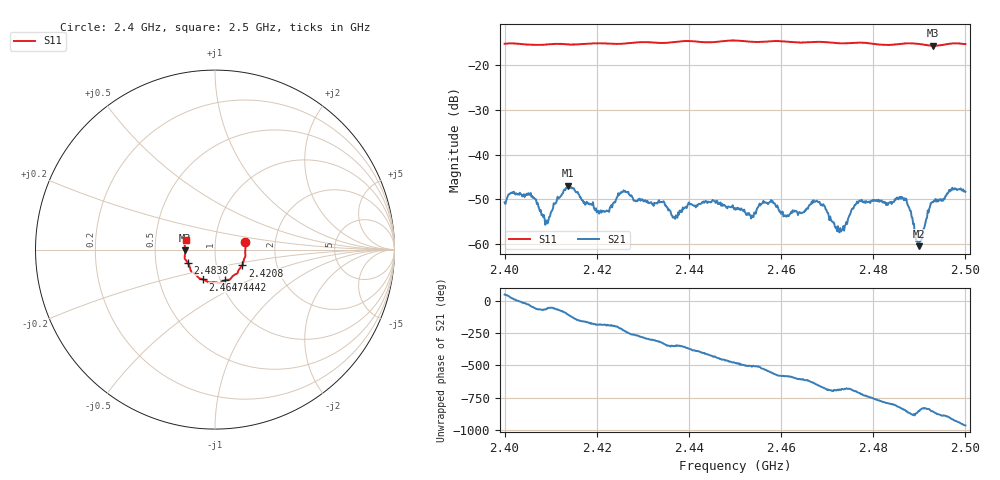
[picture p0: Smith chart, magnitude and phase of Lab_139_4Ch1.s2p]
# Hz S RI R 50
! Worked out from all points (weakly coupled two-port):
!   601 points, 2.4 GHz to 2.5 GHz, reference 50 ohm
!   highest |S21| = -46.94 dB at 2.4138 GHz (marker M1); lowest = -60.5 dB at 2.4898 GHz (marker M2)
!   lowest |S11| = -15.6 dB at 2.493 GHz (marker M3), VSWR 1.40, Z = 35.8 - j0.266 ohm
!   |S11| at or under -10 dB: start of sweep to end of sweep
!   S12 and S22 are empty: the file has one direction only
!   S11 on the Smith chart (normalised r, x): 2.4 GHz: 1.40, +0.12; 2.4208 GHz: 1.33, -0.24; 2.4442 GHz: 1.05, -0.37; 2.4647 GHz: 0.83, -0.29; 2.4838 GHz: 0.73, -0.11; 2.5 GHz: 0.71, +0.08
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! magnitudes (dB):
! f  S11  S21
! 2.4 GHz  -15.2  -50.7
! 2.4053 GHz  -15.4  -49.0
! 2.4092 GHz  -15.4  -54.7
! 2.4138 GHz  -15.4  -46.9
! 2.4167 GHz  -15.3  -50.0
! 2.4208 GHz  -15.1  -52.5
! 2.4257 GHz  -15.2  -48.3
! 2.4333 GHz  -15.0  -50.5
! 2.437 GHz  -14.8  -54.3
! 2.4442 GHz  -14.9  -50.5
! 2.45 GHz  -14.5  -51.9
! 2.4647 GHz  -14.9  -52.9
! 2.4667 GHz  -14.8  -50.5
! 2.4693 GHz  -14.8  -51.4
! 2.4727 GHz  -15.1  -57.4
! 2.477 GHz  -15.0  -50.2
! 2.4833 GHz  -15.5  -50.9
! 2.4838 GHz  -15.4  -50.5
! 2.4868 GHz  -15.1  -49.8
! 2.4898 GHz  -15.2  -60.5
! 2.493 GHz  -15.6  -50.6
! 2.5 GHz  -15.3  -48.3
